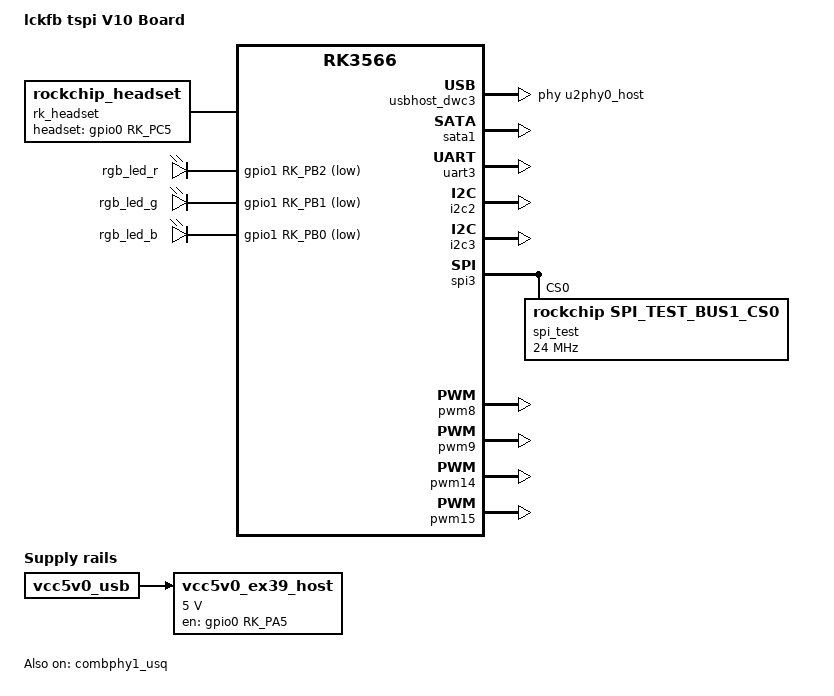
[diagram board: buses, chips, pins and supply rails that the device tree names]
/********************************************************************
 * 共建开源生态是我们的目标。为此我们努力把性价比和颜值做到极致。
 * 同时全面开放SDK、原理图、PCB等所有软硬件资料。
 * 提供交流平台、免费训练营、开发者扶持计划等，让您能够尽情发挥您的才华。
 * 我们坚信自由和定制化是开源生态的核心。
 * 泰山派开发板不仅仅是立创开发板的产品，它更是我们共同努力的成果。
 * 我们只是抛砖引玉，期望能够激发出更多的创意和想法。
 * 我们渴望与志同道合的伙伴们携手合作，共同探索无限可能。
 * 让我们各展所长，共同建设一个强大的开源生态系统。
 * 泰山派开发板等待着您的加入。
 * 让我们一起推动技术的前进，一起创未来！
 *********************************************************************
 * 立创开发板不靠卖板赚钱，以培养中国工程师为己任。  
 * 开发板官网：www.lckfb.com
 * 嘉立创论坛：www.jlc-bbs.com/lckfb 
 * 资料教程：wiki.lckfb.com  
 * 开源项目：https://oshwhub.com/search?wd=%E6%B3%B0%E5%B1%B1%E6%B4%BE   
 * 关注B站：【立创开发板】，掌握我们的最新动态！  
 *********************************************************************/
 
/dts-v1/;

#include <dt-bindings/gpio/gpio.h>
#include <dt-bindings/display/media-bus-format.h>
#include <dt-bindings/pinctrl/rockchip.h>
#include "rk3566.dtsi"
#include <dt-bindings/display/rockchip_vop.h>


//tspi核心配置层，这里是几乎后期不需要怎么改动
#include "tspi-rk3566-core-v10.dtsi"

//【开/关】EDP 显示屏幕配置，用户可以基于此复制自己的屏幕，注意EDP与MIPI屏幕互斥，因为共用了VOP如果需要同显自行修改
// #include "tspi-rk3566-edp-v10.dtsi"

//【开/关】mipi 显示屏幕配置，用户可以基于此复制自己的屏幕，注意EDP与MIPI屏幕互斥，因为共用了VOP如果需要同显自行修改
// #include "tspi-rk3566-dsi-v10.dtsi"

//【开/关】HDMI 显示屏幕配置，里面内容几乎可以不用动，如果不需要hdmi显示直接注释掉即可
#include "tspi-rk3566-hdmi-v10.dtsi"

//【开/关】摄像头 目前视频的是ov5659
#include "tspi-rk3566-csi-v10.dtsi"

//【开/关】网口 扩展板上使用的是千兆网，不接扩展板情况下可以关闭
#include "tspi-rk3566-gmac1-v10.dtsi"

//【开/关】下方是用户定义层，所有用户修改理论上在此下方修改就好了
/ {
	model = "lckfb tspi V10 Board";
	compatible = "lckfb,tspi-v10", "rockchip,rk3566";

	rk_headset: rk-headset {
		compatible = "rockchip_headset";
		headset_gpio = <&gpio0 RK_PC5 GPIO_ACTIVE_HIGH>;
		pinctrl-names = "default";
		pinctrl-0 = <&hp_det>;
	};

	leds: leds {
		compatible = "gpio-leds";
		rgb_led_r: rgb-led-r {
			gpios = <&gpio1 RK_PB2 GPIO_ACTIVE_LOW>;
			linux,default-trigger = "timer";
			linux,delay-reg = <0>;   		// 延时注册
			linux,blink-delay-on = <500>; 	// 打开时间
			linux,blink-delay-off = <500>;	// 关闭时间
		};
		rgb_led_g: rgb-led-g {
			gpios = <&gpio1 RK_PB1 GPIO_ACTIVE_LOW>;
			linux,default-trigger = "timer";
			linux,delay-reg = <100>;   		// 延时注册
			linux,blink-delay-on = <1000>; 
			linux,blink-delay-off = <1000>;
		};
		rgb_led_b: rgb-led-b {
			gpios = <&gpio1 RK_PB0 GPIO_ACTIVE_LOW>;
			linux,default-trigger = "timer";
			linux,delay-reg = <100>;  		// 延时注册
			linux,blink-delay-on = <1500>; 
			linux,blink-delay-off = <1500>;
		};
	};
	
	vcc5v0_ex39_host: vcc5v0-ex39-host-regulator {
		compatible = "regulator-fixed";
		regulator-name = "vcc5v0_ex39_host";
		regulator-boot-on;
		regulator-always-on;
		regulator-min-microvolt = <5000000>;
		regulator-max-microvolt = <5000000>;
		enable-active-high;
		gpio = <&gpio0 RK_PA5 GPIO_ACTIVE_HIGH>;
		vin-supply = <&vcc5v0_usb>;
		pinctrl-names = "default";
		pinctrl-0 = <&ex39_usb_vcc5v0_host_en>;
	};	

};

&usbhost_dwc3 {
	phys = <&u2phy0_host>; 
	phy-names = "usb2-phy";
	maximum-speed = "high-speed"; 
	status = "okay";
};
&combphy1_usq {
	rockchip,dis-u3otg1-port; 
	status = "okay";
};

&sata1 {
	rockchip,enable-ssc;
	status = "okay";
};

&pinctrl {
	headphone {
		hp_det: hp-det {
			rockchip,pins = <0 RK_PC5 RK_FUNC_GPIO &pcfg_pull_down>;
		};
	};
	ex39_usb {
		ex39_usb_vcc5v0_host_en: ex39-usb-vcc5v0-host-en {
			rockchip,pins = <0 RK_PA5 RK_FUNC_GPIO &pcfg_pull_up>;
		};
	};
};

//用户三色灯
&leds {
	status = "okay";
};

//耳机插入检测，不使用扩展板情况需关闭，否则默认会检测到耳机插入
&rk_headset {
	status = "okay";
};

//用户串口3
&uart3 {
	status = "okay";
	pinctrl-names = "default";
	pinctrl-0 = <&uart3m1_xfer>;
};

//用户I2C2
&i2c2 {
	status = "okay";

	/*添加你的I2C设备参考
	gt1x: gt1x@14 {
		compatible = "goodix,gt1x";
		reg = <0x14>;
		pinctrl-names = "default";
		pinctrl-0 = <&touch_gpio>;
		goodix,rst-gpio = <&gpio0 RK_PB6 GPIO_ACTIVE_HIGH>;
		goodix,irq-gpio = <&gpio0 RK_PB5 IRQ_TYPE_LEVEL_LOW>;
	};*/
};

&i2c3 {
	status = "okay";
	pinctrl-names = "default";
	pinctrl-0 = <&i2c3m1_xfer>;
	/*添加你的I2C设备参考
	gt1x: gt1x@14 {
		compatible = "goodix,gt1x";
		reg = <0x14>;
		pinctrl-names = "default";
		pinctrl-0 = <&touch_gpio>;
		goodix,rst-gpio = <&gpio0 RK_PB6 GPIO_ACTIVE_HIGH>;
		goodix,irq-gpio = <&gpio0 RK_PB5 IRQ_TYPE_LEVEL_LOW>;
	};*/
};


&spi3 {
	status = "okay";
	max-freq = <48000000>;
	dma-names = "tx","rx";
	pinctrl-names = "default", "high_speed";
	pinctrl-0 = <&spi3m1_cs0 &spi3m1_pins>;
	pinctrl-1 = <&spi3m1_cs0 &spi3m1_pins_hs>;
	spi_test@10 {
		compatible ="rockchip,spi_test_bus1_cs0";
		reg = <0>;
		spi-max-frequency = <24000000>;
		status = "okay";
	};
};

&pwm8 {
	status = "okay";
};

&pwm9 {
	status = "okay";
};

&pwm14 {
	status = "okay";
};

//pwd 15遥控器
&pwm15 {
	status = "okay";
	compatible = "rockchip,remotectl-pwm";
	remote_pwm_id = <3>;
	handle_cpu_id = <1>;
	remote_support_psci = <0>;
	pinctrl-names = "default";
	pinctrl-0 = <&pwm15m0_pins>;

	//用户自定方法：adb设置输出日志并通过dmesg确定usercode=address与key_table=command
	//echo 1 > sys/module/rockchip_pwm_remotectl/parameters/code_print
	//键值可在 include/dt-bindings/input/linux-event-codes.h 中查找
	ir_key1 {
		rockchip,usercode = <0xff00>;
		rockchip,key_table =
			<0xf2	KEY_MENU>,
			<0xe9	KEY_BACK>,
			<0xe3	KEY_ENTER>,
			<0xe7	KEY_UP>,
			<0xad	KEY_DOWN>,
			<0xf7	KEY_LEFT>,
			<0xa5	KEY_RIGHT>,
			<0xba	KEY_1>,
			<0xb9	KEY_2>,
			<0xb8	KEY_3>,
			<0xbb	KEY_4>,
			<0xbf	KEY_5>,
			<0xbc	KEY_6>,
			<0xf8	KEY_7>,
			<0xea	KEY_8>,
			<0xf6	KEY_9>,
			<0xe6	KEY_0>;
	};
};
